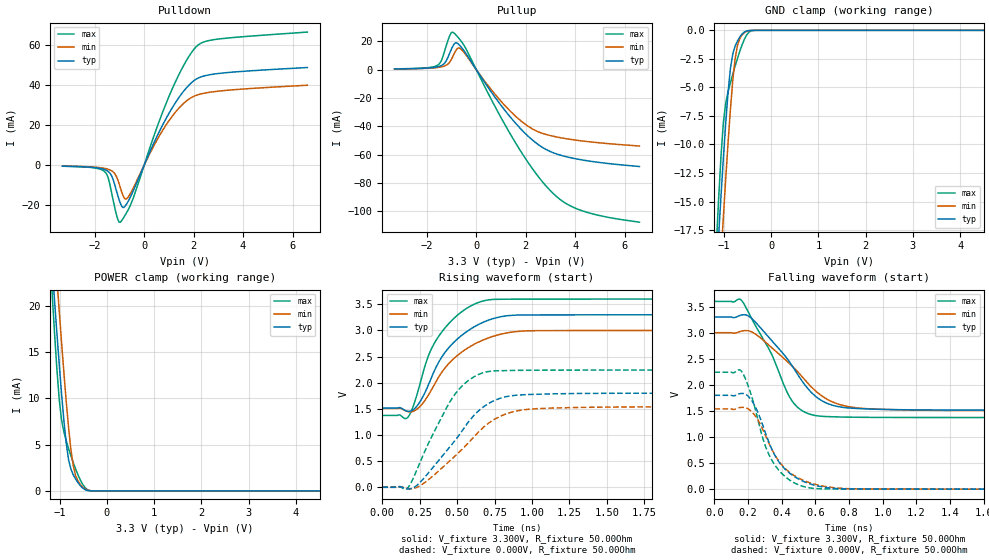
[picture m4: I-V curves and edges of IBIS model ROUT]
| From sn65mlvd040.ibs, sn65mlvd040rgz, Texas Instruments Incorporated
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|   ROUT MODEL
[Model]   ROUT
Model_type   3-state
Polarity   Non-Inverting
Enable   Active-Low
Vmeas   = 1.65V
Vref   = 0V
Cref   = 15pF
Rref   = 500Ohms
|3-state   typ   min   max
|   (Nom PVT)   (Fast PVT)   (Slow PVT)
C_comp   0.84751609pF   0.84049221pF 0.86126714pF
| HIGH STATE   (Nom PVT)   (Fast PVT)   (Slow PVT)
|C_comp   0.83249355pF   0.83486872pF 0.83103616pF
| LOW STATE   (Nom PVT)   (Fast PVT)   (Slow PVT)
|C_comp   0.83104843pF   0.83099688pF 0.83485957pF
[Voltage Range]   3.3   3.0   3.6
|Junction temperature
[Temperature Range]   37   97   -40
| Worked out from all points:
|   slope of the pulldown table from 0 to 0.495 V, typ, clamps not added: 35.8 ohm
|   slope of the pullup table from 0 to 0.495 V, typ, clamps not added: 38.2 ohm
|   GND clamp passes 1 mA (typ) near -0.72 V on its own axis
|   POWER clamp passes 1 mA (typ) near -0.63 V on its own axis
|   falling waveform, V_fixture 3.300V, R_fixture 50.00Ohm: 20-80 % time 256ps typ, 286ps min, 198ps max; typ from 3.3 V to 1.51 V
|   rising waveform, V_fixture 3.300V, R_fixture 50.00Ohm: 20-80 % time 252ps typ, 276ps min, 216ps max; typ from 1.51 V to 3.3 V
|   rising waveform, V_fixture 0.000V, R_fixture 50.00Ohm: 20-80 % time 302ps typ, 338ps min, 242ps max; typ from 0 V to 1.8 V
|   falling waveform, V_fixture 0.000V, R_fixture 50.00Ohm: 20-80 % time 165ps typ, 178ps min, 142ps max; typ from 1.8 V to 0 V
|ambient temperature   25   85   -40
[Pulldown]
|   Voltage   I(typ)   I(min)   I(max)
-3.3V     -458.3uA   -414.1uA   -470.5uA
-1.609V   -2.086mA   -1.515mA   -3.051mA
-1.459V   -3.039mA   -1.974mA   -6.039mA
-1.31V    -5.407mA   -2.812mA   -14.05mA
-1.061V   -15.28mA   -7.392mA   -27.16mA
-961.8mV  -19.01mA   -11.22mA   -28.46mA
-812.6mV  -21.04mA   -16.16mA   -25.86mA
-663.3mV  -18.45mA   -16.2mA    -22.68mA
928.6mV   24.3mA     20.92mA    32.14mA
2.073V    42.82mA    34.81mA    58.84mA
2.919V    45.77mA    36.96mA    62.99mA
6.6V      48.89mA    40.04mA    66.61mA
[GND Clamp]
|   Voltage   I(typ)   I(min)   I(max)
-3.3V     -187.8mA   -193.5mA   -228.3mA
-1.161V   -21.51mA   -26.99mA   -18.88mA
-1.111V   -17.97mA   -23.39mA   -14.74mA
-1.061V   -14.52mA   -19.85mA   -11.02mA
-1.012V   -11.22mA   -16.39mA   -8.102mA
-961.8mV  -8.146mA   -13.05mA   -6.372mA
-862.3mV  -3.36mA    -6.944mA   -4.603mA
-762.8mV  -1.389mA   -2.505mA   -3.144mA
-713.1mV  -934.1uA   -1.331mA   -2.464mA
-514.1mV  -49.06uA   -78.59uA   -375.8uA
-315.1mV  -158.1nA   -713.7nA   -1.27uA
6.6V      0A         0A         0A
[Pullup]
|   Voltage   I(typ)   I(min)   I(max)
-3.3V     418.1uA    390.2uA    443.2uA
-1.559V   1.933mA    1.45mA     3.074mA
-1.26V    4.885mA    2.672mA    14.06mA
-1.061V   12.01mA    5.467mA    24.28mA
-912.1mV  17.43mA    10.37mA    25.96mA
-762.8mV  18.58mA    14.79mA    23.29mA
-613.6mV  15.92mA    14.34mA    20.08mA
1.476V    -35.5mA    -31.02mA   -48.35mA
2.272V    -49.66mA   -41.84mA   -69.87mA
2.968V    -57.6mA    -46.44mA   -84.85mA
4.312V    -63.82mA   -50.4mA    -99.74mA
6.6V      -68.36mA   -53.91mA   -107.6mA
[POWER Clamp]
|   Voltage   I(typ)   I(min)   I(max)
-3.3V     190.8mA    197mA      231mA
-1.161V   24.25mA    30.28mA    21.42mA
-1.111V   20.67mA    26.65mA    17.18mA
-1.061V   17.17mA    23.06mA    13.26mA
-1.012V   13.78mA    19.54mA    9.946mA
-961.8mV  10.56mA    16.11mA    7.672mA
-862.3mV  5.135mA    9.682mA    5.432mA
-812.6mV  3.371mA    6.843mA    4.589mA
-713.1mV  1.745mA    2.704mA    3.053mA
-663.3mV  1.285mA    1.659mA    2.364mA
-464.3mV  138uA      219.1uA    355.8uA
6.6V      0A         0A         0A
[Ramp]
R_load = 50.00Ohm
|   typ   min   max
dV/dt_r   1.080V/302.288ps 923.205mV/337.955ps   1.345V/241.562ps
dV/dt_f   1.071V/256.011ps 896.208mV/286.335ps   1.336V/197.537ps
[Falling Waveform]
V_fixture = 3.300V
V_fixture_min = 3.000V
V_fixture_max = 3.600V
R_fixture = 50.00Ohm
|   Time   V(typ)   V(min)   V(max)
0s        3.3V       3V         3.6V
160ps     3.338V     3.029V     3.623V
230ps     3.248V     3.001V     3.217V
340ps     2.849V     2.714V     2.586V
450ps     2.423V     2.397V     1.748V
510ps     2.122V     2.195V     1.529V
590ps     1.81V      1.916V     1.418V
740ps     1.58V      1.626V     1.384V
950ps     1.533V     1.536V     1.376V
3.5ns     1.515V     1.506V     1.374V
[Rising Waveform]
V_fixture = 3.300V
V_fixture_min = 3.000V
V_fixture_max = 3.600V
R_fixture = 50.00Ohm
|   Time   V(typ)   V(min)   V(max)
0s        1.515V     1.506V     1.374V
170ps     1.452V     1.447V     1.336V
200ps     1.471V     1.448V     1.501V
250ps     1.629V     1.541V     1.96V
310ps     1.972V     1.773V     2.53V
370ps     2.359V     2.08V      2.861V
500ps     2.833V     2.519V     3.287V
680ps     3.164V     2.825V     3.568V
1.01ns    3.297V     2.995V     3.599V
3.5ns     3.3V       3V         3.6V
[Rising Waveform]
V_fixture = 0.000V
V_fixture_min = 0.000V
V_fixture_max = 0.000V
R_fixture = 50.00Ohm
|   Time   V(typ)   V(min)   V(max)
0s        20.39uV    25.61uV    17.08uV
170ps     -32.74mV   -26.1mV    -9.484mV
250ps     88.44mV    26.67mV    466.1mV
330ps     351.2mV    196.7mV    970.1mV
470ps     835.8mV    555.2mV    1.718V
570ps     1.23V      833.8mV    2.031V
690ps     1.566V     1.182V     2.203V
850ps     1.745V     1.425V     2.235V
1.05ns    1.781V     1.506V     2.24V
3.5ns     1.8V       1.539V     2.242V
[Falling Waveform]
V_fixture = 0.000V
V_fixture_min = 0.000V
V_fixture_max = 0.000V
R_fixture = 50.00Ohm
|   Time   V(typ)   V(min)   V(max)
0s        1.8V       1.539V     2.242V
160ps     1.835V     1.569V     2.264V
200ps     1.784V     1.539V     1.983V
240ps     1.597V     1.416V     1.566V
290ps     1.201V     1.126V     947.7mV
340ps     771.9mV    769.2mV    562mV
420ps     382.1mV    395.9mV    240.1mV
550ps     121mV      141.5mV    33.9mV
860ps     4.244mV    5.089mV    1.382mV
3.5ns     20.39uV    25.61uV    17.08uV
